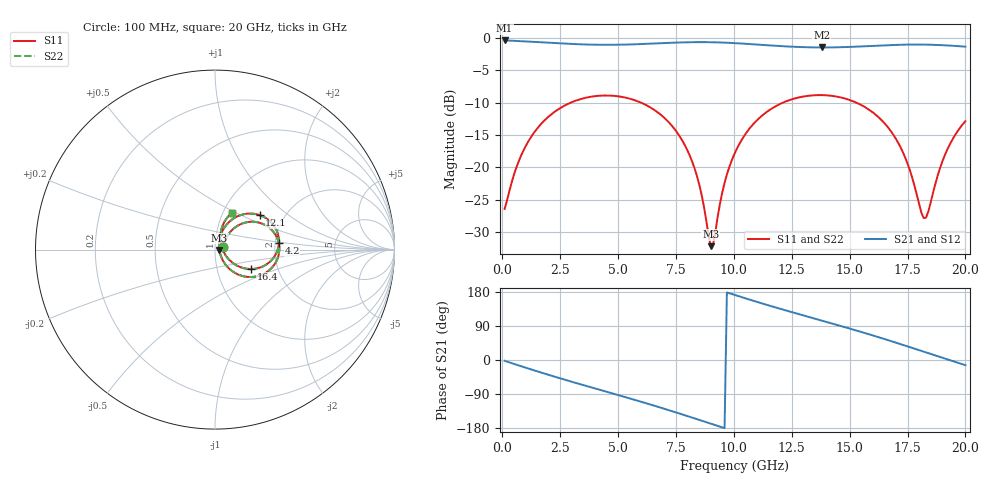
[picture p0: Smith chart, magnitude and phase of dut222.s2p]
! Touchstone file exported from HFSS 2026.1.0
!  File:  C:/ffzhzh/LocalFiles/Ansys_Project_Files/temp_train_TSV_RDL_222_1783063294_45820.aedt
!  Generated:  03:33:54 PM Jul  3, 2026
!  Design:  TSV_RDL
!  Project:  temp_train_TSV_RDL_222_1783063294_45820
! Variables:
!  h_bsmrdl = 2.4um
!  h_ox = 20um
!  h_rdl = 5um
!  h_sub = 57.99um
!  h_tmrdl = 4.53um
!  h_tsv = 57.99um
!  h_via = 3um
!  l_bsmrdl = 848.49um
!  l_sub = 5882.52um
!  l_tmrdl = 715.19um
!  m_sub = 200um
!  pitch = 27.03um
!  r_tsv = 12.05um
!  s_tmrdl = 10um
!  w_bsmrdl = 14.41um
!  w_sub = 500um
!  w_tmrdl = 11.02um
!  x_tsv_center1 = 720.7um
!  x_tsv_center2 = 1583.6um
!  x_tsv_center3 = 2309.81um
!  x_tsv_center4 = 3172.71um
!  x_tsv_center5 = 3898.92um
!  x_tsv_center6 = 4761.82um
# GHz S MA R 50.000000
! Terminal data exported
! Port[1] = TM_RDL1_1_T1
! Port[2] = TM_RDL5_1_T1
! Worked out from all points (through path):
!   200 points, 100 MHz to 20 GHz, reference 50 ohm
!   highest |S21| = -0.40 dB at 100 MHz (marker M1); lowest = -1.5 dB at 13.8 GHz (marker M2)
!   group delay of S21, straight-line fit = 51.4 ps
!   lowest |S11| = -32.2 dB at 9 GHz (marker M3), VSWR 1.05, Z = 52.5 - j0.247 ohm
!   |S11| at or under -10 dB: start of sweep to 2.964 GHz; 5.983 GHz to 12.13 GHz (6.146 GHz wide, 67.9 % of centre); 15.28 GHz to end of sweep
!   |S22| runs from -32.0 to -8.8 dB; largest |S21 - S12| = 1.6e-14
!   S11 on the Smith chart (normalised r, x): 100 MHz: 1.10, +0.03; 4.2 GHz: 2.09, +0.17; 12.1 GHz: 1.50, +0.64; 16.4 GHz: 1.46, -0.33; 20 GHz: 1.10, +0.48
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0.1  0.04761 16.8  0.9548 -2.1  0.9548 -2.1  0.04761 16.8
! Gamma 0 0 0 0
! Port Impedance 50 0 50 0
0.7  0.1102 48.5  0.9446 -14.3  0.9446 -14.3  0.1102 48.5
1.4  0.1882 46.1  0.9304 -27.9  0.9304 -27.9  0.1882 46.1
3.5  0.3409 16.5  0.8898 -66.3  0.8898 -66.3  0.3409 16.5
4.2  0.3571 5.6  0.8842 -78.5  0.8842 -78.5  0.3571 5.6
6.8  0.2584 -36.1  0.9084 -124.9  0.9084 -124.9  0.2583 -36.1
8.2  0.1106 -54.7  0.9258 -152.0  0.9258 -152.0  0.1106 -54.5
8.6  0.06226 -52.2  0.9268 -159.9  0.9268 -159.9  0.06237 -51.8
9  0.02455 -5.5  0.9254 -167.9  0.9254 -167.9  0.02499 -5.1
9.1  0.02504 23.0  0.9246 -169.9  0.9246 -169.9  0.02551 22.9
9.6  0.07576 67.9  0.9187 -179.8  0.9187 -179.8  0.07599 67.6
10.1  0.1354 66.8  0.9094 170.4  0.9094 170.4  0.1356 66.6
11  0.231 54.8  0.888 153.3  0.888 153.3  0.2311 54.7
12.1  0.3146 37.6  0.8619 133.4  0.8619 133.4  0.3148 37.5
13.4  0.3593 17.4  0.8444 110.8  0.8444 110.8  0.3595 17.3
13.8  0.361 11.2  0.8431 103.9  0.8431 103.9  0.3611 11.1
16.4  0.2293 -28.1  0.8733 57.4  0.8733 57.4  0.2294 -28.3
16.7  0.1988 -31.9  0.8781 51.6  0.8781 51.6  0.1988 -32.1
17.5  0.107 -36.3  0.8868 35.9  0.8868 35.9  0.107 -36.7
18.2  0.04047 10.3  0.8873 21.9  0.8873 21.9  0.03979 9.9
19.1  0.1224 72.5  0.8761 3.9  0.8761 3.9  0.122 72.8
20  0.2271 65.1  0.8551 -13.6  0.8551 -13.6  0.2268 65.2
